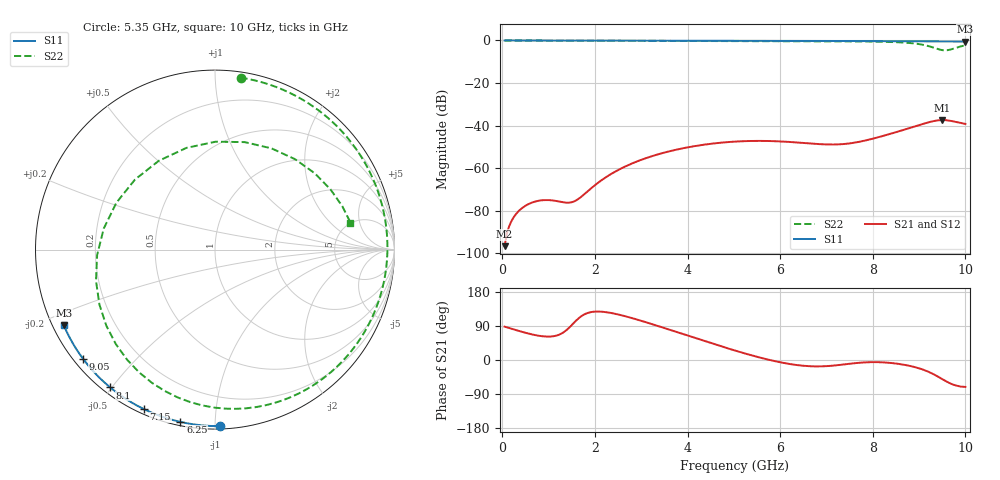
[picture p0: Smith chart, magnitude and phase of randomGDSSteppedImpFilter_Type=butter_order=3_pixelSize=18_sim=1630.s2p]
! freq	dB(S11)	phase(S11)	dB(S12)	phase(S12)
!  dB(S21)	phase(S21)	dB(S22)	phase(S22)
!S-par simulation data
#  GHz  S  DB  R 50
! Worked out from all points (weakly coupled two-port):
!   200 points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, 50 MHz to 10 GHz, reference 50 ohm
!   highest |S21| = -37.43 dB at 9.5 GHz (marker M1); lowest = -96.7 dB at 50 MHz (marker M2)
!   lowest |S11| = -0.5 dB at 10 GHz (marker M3), VSWR 33.45, Z = 1.58 - j11.8 ohm
!   |S11| at or under -10 dB: nowhere
!   |S22| runs from -4.6 to 0.0 dB; largest |S21 - S12| = 0
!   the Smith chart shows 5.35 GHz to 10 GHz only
!   S11 on the Smith chart (normalised r, x): 5.35 GHz: 0.02, -1.03; 6.25 GHz: 0.02, -0.82; 7.15 GHz: 0.02, -0.65; 8.1 GHz: 0.02, -0.50; 9.05 GHz: 0.03, -0.36; 10 GHz: 0.03, -0.24
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0.05  -0.00 -0.9  -96.73 88.1  -96.73 88.1  -0.00 -3.0
0.45  -0.01 -8.0  -78.45 73.5  -78.45 73.5  -0.04 -26.8
0.95  -0.02 -16.8  -75.04 61.9  -75.04 61.9  -0.07 -55.8
1.45  -0.03 -25.5  -76.27 86.0  -76.27 86.0  -0.10 -83.8
1.75  -0.04 -30.6  -72.69 118.9  -72.69 118.9  -0.12 -100.0
2.6  -0.06 -45.0  -59.84 117.2  -59.84 117.2  -0.16 -143.7
3.4  -0.08 -58.1  -53.32 88.2  -53.32 88.2  -0.20 176.8
4.15  -0.10 -70.0  -49.70 58.6  -49.70 58.6  -0.23 140.3
5.05  -0.13 -83.8  -47.53 24.0  -47.53 24.0  -0.27 96.2
5.35  -0.14 -88.3  -47.27 13.4  -47.27 13.4  -0.28 81.6
6.25  -0.18 -101.4  -47.79 -11.4  -47.79 -11.4  -0.30 38.2
6.7  -0.21 -107.8  -48.53 -16.7  -48.53 -16.7  -0.32 17.1
7.15  -0.24 -114.1  -48.92 -14.8  -48.92 -14.8  -0.36 -3.7
8.1  -0.31 -127.2  -45.61 -5.7  -45.61 -5.7  -0.56 -48.9
8.35  -0.34 -130.6  -44.09 -7.3  -44.09 -7.3  -0.69 -62.7
8.75  -0.37 -136.1  -41.49 -14.3  -41.49 -14.3  -1.11 -90.3
9.05  -0.41 -140.2  -39.47 -23.9  -39.47 -23.9  -1.89 -121.6
9.3  -0.43 -143.7  -37.98 -36.8  -37.98 -36.8  -3.28 -165.3
9.5  -0.46 -146.5  -37.43 -50.5  -37.43 -50.5  -4.55 138.8
9.7  -0.48 -149.3  -37.87 -63.2  -37.87 -63.2  -4.14 74.6
9.85  -0.50 -151.4  -38.60 -68.8  -38.60 -68.8  -3.10 37.4
10  -0.52 -153.5  -39.25 -71.0  -39.25 -71.0  -2.27 11.3
